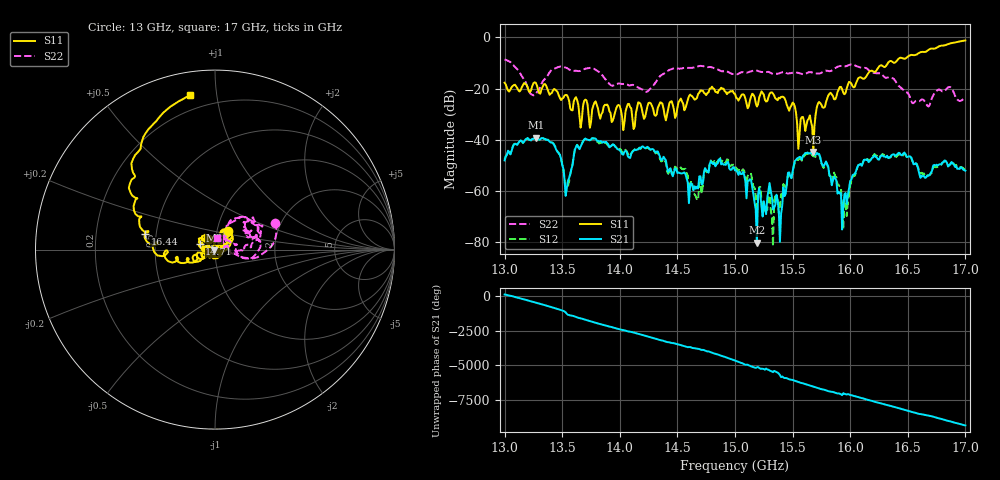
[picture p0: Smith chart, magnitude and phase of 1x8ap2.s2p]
!Keysight Technologies,P9374A,MY57211807,A.19.30.04
!Date: Friday, May 08, 2026 14:32:16
!Correction: S11(C  2-Port  )
!S21(C  2-Port  )
!S12(C  2-Port  )
!S22(C  2-Port  )
!S2P File: Measurements: S11, S21, S12, S22:
# Hz S  dB  R 50
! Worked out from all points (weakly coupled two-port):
!   401 points, 13 GHz to 17 GHz, reference 50 ohm
!   highest |S21| = -39.17 dB at 13.27 GHz (marker M1); lowest = -80.2 dB at 15.19 GHz (marker M2)
!   lowest |S11| = -44.8 dB at 15.68 GHz (marker M3), VSWR 1.01, Z = 49.5 - j0.323 ohm
!   |S11| at or under -10 dB: start of sweep to 16.33 GHz
!   |S22| runs from -27.0 to -8.7 dB; largest |S21 - S12| = 0.001
!   S11 on the Smith chart (normalised r, x): 13 GHz: 1.13, +0.24; 14.71 GHz: 0.84, +0.05; 16.44 GHz: 0.43, +0.09; 17 GHz: 0.12, +0.84
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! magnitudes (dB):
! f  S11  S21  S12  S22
! 13 GHz  -17.7  -48.1  -47.7  -8.7
! 13.27 GHz  -17.7  -39.2  -39.1  -22.1
! 13.43 GHz  -20.1  -42.0  -41.9  -12.3
! 13.54 GHz  -22.5  -58.8  -59.1  -12.0
! 13.67 GHz  -32.4  -41.7  -41.7  -12.9
! 14.34 GHz  -26.5  -45.7  -46.5  -15.6
! 14.66 GHz  -24.1  -59.1  -62.1  -11.6
! 14.71 GHz  -20.9  -57.5  -61.3  -11.2
! 15 GHz  -22.1  -52.0  -50.5  -14.4
! 15.19 GHz  -27.0  -80.2  -68.8  -12.9
! 15.3 GHz  -22.1  -56.9  -59.6  -13.6
! 15.39 GHz  -23.8  -79.9  -65.8  -13.9
! 15.53 GHz  -29.5  -47.9  -48.4  -13.8
! 15.67 GHz  -34.8  -45.4  -45.9  -13.7
! 15.68 GHz  -44.8  -45.7  -46.4  -13.9
! 15.88 GHz  -23.2  -55.9  -54.5  -11.7
! 15.95 GHz  -22.2  -61.3  -63.9  -11.3
! 16.07 GHz  -15.9  -50.0  -49.8  -11.5
! 16.34 GHz  -9.4  -46.9  -47.1  -15.7
! 16.44 GHz  -7.9  -45.9  -46.4  -19.6
! 16.63 GHz  -5.6  -54.3  -53.4  -24.3
! 17 GHz  -1.2  -52.1  -52.2  -23.4
